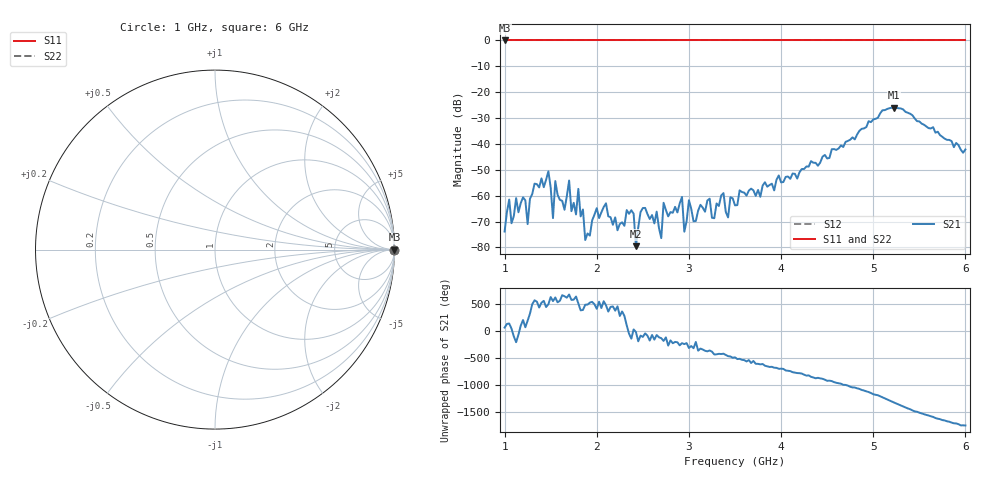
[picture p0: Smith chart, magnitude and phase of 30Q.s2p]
!Keysight Technologies N9926A: A.08.19
!Date: Sunday, 01 March 2026 13:51:34
!Timezone: (GMT-06:00) Central Time (US & Canada)
!Model: N9926A
!Serial: MY53102721
!GPS Latitude:
!GPS Longitude:
!GPS TimeStamp: 0001-01-01 00:00:00Z
!GPS Seconds Since Last Read: 0
!CHECKSUM:0619951294
!Correction: S11()S21(ON U)S12()S22()
!S2P File: Measurements:S11,S21,S12,S22:
# Hz S DB R 50
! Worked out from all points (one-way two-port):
!   201 points, 1 GHz to 6 GHz, reference 50 ohm
!   highest |S21| = -25.92 dB at 5.225 GHz (marker M1); lowest = -79.5 dB at 2.425 GHz (marker M2)
!   lowest |S11| = 0.0 dB at 1 GHz (marker M3)
!   |S11| at or under -10 dB: nowhere
!   |S22| runs from 0.0 to 0.0 dB; largest |S21 - S12| = 1
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1e9  0.00 0.0  -73.88 55.9  0.00 0.0  0.00 0.0
1.05e9  0.00 0.0  -61.51 131.9  0.00 0.0  0.00 0.0
1.25e9  0.00 0.0  -71.00 -174.6  0.00 0.0  0.00 0.0
1.325e9  0.00 0.0  -55.37 -157.0  0.00 0.0  0.00 0.0
1.475e9  0.00 0.0  -50.58 129.8  0.00 0.0  0.00 0.0
1.525e9  0.00 0.0  -68.68 -172.4  0.00 0.0  0.00 0.0
1.55e9  0.00 0.0  -54.38 -105.3  0.00 0.0  0.00 0.0
1.85e9  0.00 0.0  -65.34 23.5  0.00 0.0  0.00 0.0
1.875e9  0.00 0.0  -77.16 120.4  0.00 0.0  0.00 0.0
2e9  0.00 0.0  -64.83 43.9  0.00 0.0  0.00 0.0
2.375e9  0.00 0.0  -65.65 -148.5  0.00 0.0  0.00 0.0
2.425e9  0.00 0.0  -79.53 -25.3  0.00 0.0  0.00 0.0
2.5e9  0.00 0.0  -64.79 -116.2  0.00 0.0  0.00 0.0
2.675e9  0.00 0.0  -72.53 -123.5  0.00 0.0  0.00 0.0
2.925e9  0.00 0.0  -60.51 127.9  0.00 0.0  0.00 0.0
2.95e9  0.00 0.0  -73.95 110.1  0.00 0.0  0.00 0.0
3e9  0.00 0.0  -61.76 38.1  0.00 0.0  0.00 0.0
3.5e9  0.00 0.0  -63.76 -135.5  0.00 0.0  0.00 0.0
4.35e9  0.00 0.0  -47.28 -148.9  0.00 0.0  0.00 0.0
5.175e9  0.00 0.0  -26.20 145.1  0.00 0.0  0.00 0.0
5.225e9  0.00 0.0  -25.92 107.4  0.00 0.0  0.00 0.0
6e9  0.00 0.0  -42.15 41.7  0.00 0.0  0.00 0.0
